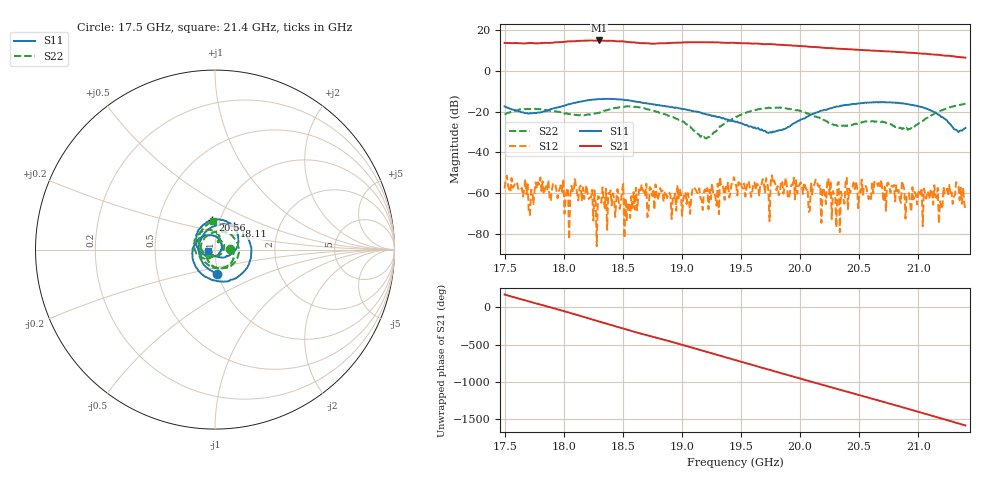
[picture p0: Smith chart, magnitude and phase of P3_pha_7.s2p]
!Created with skrf (http://scikit-rf.org).
# GHz S RI R 50.0
!freq ReS11 ImS11 ReS21 ImS21 ReS12 ImS12 ReS22 ImS22
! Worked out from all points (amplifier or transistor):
!   401 points, 17.5 GHz to 21.4 GHz, reference 50 ohm
!   highest |S21| = 14.9 dB at 18.3 GHz (marker M1)
!   |S21| within 3 dB of that: start of sweep to 20.06 GHz
!   unconditionally stable (mu >= 1): start of sweep to end of sweep
!   at 18.14 GHz: K = 57.62, MAG = 14.9 dB, |S12| = -56.3 dB
!   at 19.45 GHz: K = 55.17, MAG = 13.7 dB, |S12| = -54.6 dB
!   at 21.4 GHz: K = 594.19, MAG = 6.6 dB, |S12| = -68.2 dB
!   S11 on the Smith chart (normalised r, x): 17.5 GHz: 0.98, -0.27; 18.11 GHz: 1.19, +0.32; 20.56 GHz: 0.92, +0.31; 21.4 GHz: 0.92, -0.01
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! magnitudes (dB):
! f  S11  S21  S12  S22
! 17.5 GHz  -17.5  13.7  -57.7  -21.4
! 17.72 GHz  -20.8  13.7  -58.3  -18.7
! 17.78 GHz  -20.5  13.5  -54.6  -18.8
! 17.98 GHz  -17.5  14.0  -55.2  -20.6
! 18.03 GHz  -16.7  14.4  -58.4  -20.9
! 18.11 GHz  -15.4  14.6  -60.4  -21.7
! 18.15 GHz  -15.0  14.7  -63.5  -21.7
! 18.3 GHz  -13.9  14.9  -61.9  -20.6
! 18.53 GHz  -14.4  14.2  -73.7  -17.4
! 18.66 GHz  -15.6  13.5  -55.7  -18.2
! 18.81 GHz  -16.8  13.5  -60.7  -20.5
! 19.2 GHz  -21.1  14.0  -58.1  -33.0
! 19.45 GHz  -24.8  13.7  -54.6  -23.1
! 19.74 GHz  -30.3  13.1  -73.7  -18.1
! 20.1 GHz  -21.3  11.7  -60.7  -22.0
! 20.24 GHz  -18.7  11.2  -52.7  -25.5
! 20.29 GHz  -17.8  11.0  -60.7  -26.6
! 20.56 GHz  -15.7  10.0  -56.9  -24.8
! 20.76 GHz  -15.5  9.5  -56.9  -26.1
! 21.19 GHz  -21.9  7.7  -64.0  -19.6
! 21.34 GHz  -30.1  6.8  -56.6  -16.8
! 21.4 GHz  -28.0  6.5  -68.2  -16.1
